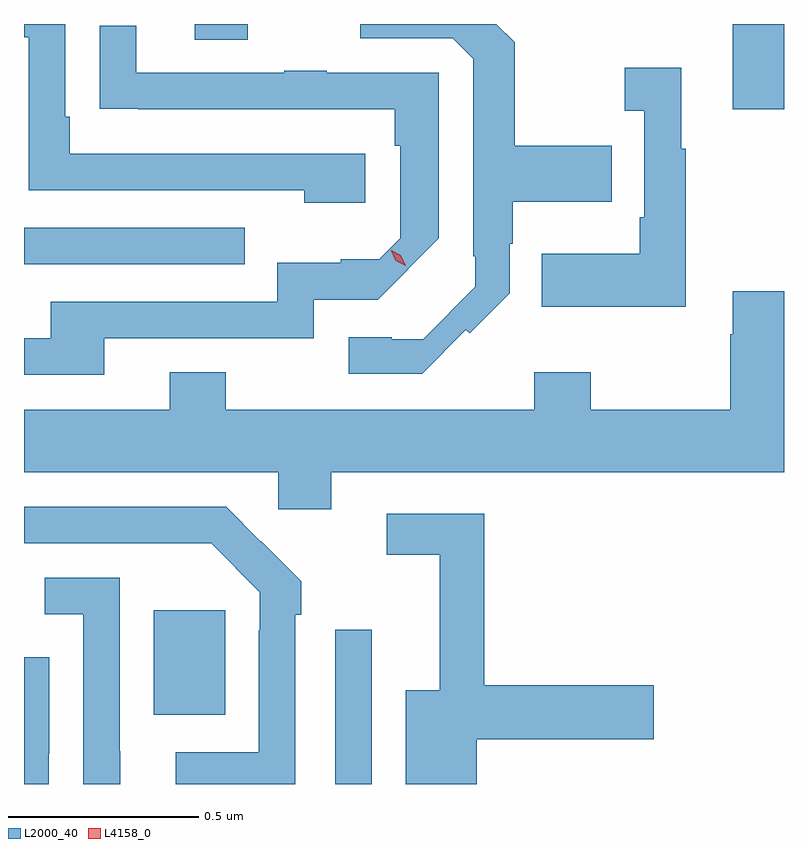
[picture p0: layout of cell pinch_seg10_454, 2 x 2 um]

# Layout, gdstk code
import gdstk
lib = gdstk.Library(unit=1e-6, precision=1e-09)
def R(c, l, rs):  # rectangles x0, y0, x1, y1
    for r in rs: c.add(gdstk.rectangle(r[:2], r[2:], *l))
def P(c, l, *ps):  # polygons
    for p in ps: c.add(gdstk.Polygon(p, *l))
L2000_40 = (2000, 40)
L4158_0 = (4158, 0)

pinch_seg10_454 = lib.new_cell('pinch_seg10_454')
R(pinch_seg10_454, L2000_40, [(365.583,1290.171,365.679,1290.577), (365.105,1290.353,365.293,1290.628), (364.764,1291.539,365.345,1291.635), (366.629,1291.947,366.764,1292.171), (365.213,1292.13,365.353,1292.171)])
P(pinch_seg10_454, L2000_40, [(365.927,1291.366),(365.937,1291.357),(366.042,1291.462),(366.042,1291.593),(366.05,1291.593),(366.05,1291.703),(366.311,1291.703),(366.311,1291.851),(366.055,1291.851),(366.055,1292.123),(366.007,1292.171),(365.649,1292.171),(365.649,1292.133),(365.892,1292.133),(365.946,1292.079),(365.946,1291.56),(365.952,1291.56),(365.952,1291.479),(365.814,1291.341),(365.732,1291.341),(365.732,1291.347),(365.619,1291.347),(365.619,1291.251),(365.812,1291.251)],
  [(365.662,1291.83),(364.885,1291.83),(364.885,1291.927),(364.872,1291.927),(364.872,1292.171),(364.764,1292.171),(364.764,1292.136),(364.776,1292.136),(364.776,1291.734),(365.501,1291.734),(365.501,1291.7),(365.662,1291.7)],
  [(364.975,1291.344),(365.526,1291.344),(365.526,1291.446),(365.695,1291.446),(365.856,1291.607),(365.856,1292.043),(365.561,1292.043),(365.561,1292.048),(365.449,1292.048),(365.449,1292.043),(365.059,1292.043),(365.059,1292.167),(364.963,1292.167),(364.963,1291.948),(365.065,1291.948),(365.065,1291.947),(365.74,1291.947),(365.74,1291.85),(365.754,1291.85),(365.754,1291.607),(365.699,1291.552),(365.598,1291.552),(365.598,1291.543),(365.43,1291.543),(365.43,1291.44),(364.835,1291.44),(364.835,1291.344),(364.764,1291.344),(364.764,1291.248),(364.975,1291.248)],
  [(366.505,1291.843),(366.493,1291.843),(366.493,1292.056),(366.345,1292.056),(366.345,1291.943),(366.396,1291.943),(366.396,1291.663),(366.384,1291.663),(366.384,1291.566),(366.127,1291.566),(366.127,1291.427),(366.505,1291.427)],
  [(365.572,1290.992),(366.764,1290.992),(366.764,1291.468),(366.629,1291.468),(366.629,1291.355),(366.622,1291.355),(366.622,1291.156),(366.255,1291.156),(366.255,1291.255),(366.107,1291.255),(366.107,1291.156),(365.295,1291.156),(365.295,1291.255),(365.147,1291.255),(365.147,1291.156),(364.764,1291.156),(364.764,1290.992),(365.433,1290.992),(365.433,1290.894),(365.572,1290.894)],
  [(365.478,1290.617),(365.493,1290.617),(365.493,1290.705),(365.388,1290.81),(365.387,1290.809),(365.296,1290.9),(364.764,1290.9),(364.764,1290.804),(365.257,1290.804),(365.385,1290.675),(365.385,1290.575),(365.382,1290.575),(365.382,1290.255),(365.163,1290.255),(365.163,1290.171),(365.478,1290.171)],
  [(365.956,1290.289),(366.421,1290.289),(366.421,1290.431),(365.975,1290.431),(365.975,1290.882),(365.718,1290.882),(365.718,1290.774),(365.858,1290.774),(365.858,1290.418),(365.768,1290.418),(365.768,1290.171),(365.956,1290.171)],
  [(365.017,1290.257),(365.016,1290.257),(365.016,1290.714),(364.818,1290.714),(364.818,1290.618),(364.92,1290.618),(364.92,1290.171),(365.017,1290.171)],
  [(364.829,1290.25),(364.83,1290.25),(364.83,1290.505),(364.764,1290.505),(364.764,1290.171),(364.829,1290.171)])
P(pinch_seg10_454, L4158_0, [(365.769,1291.535),(365.742,1291.548),(365.73,1291.574),(365.73,1291.575),(365.73,1291.575),(365.756,1291.562),(365.769,1291.535),(365.769,1291.535)])

lib.write_gds('pinch_seg10_454.gds')
